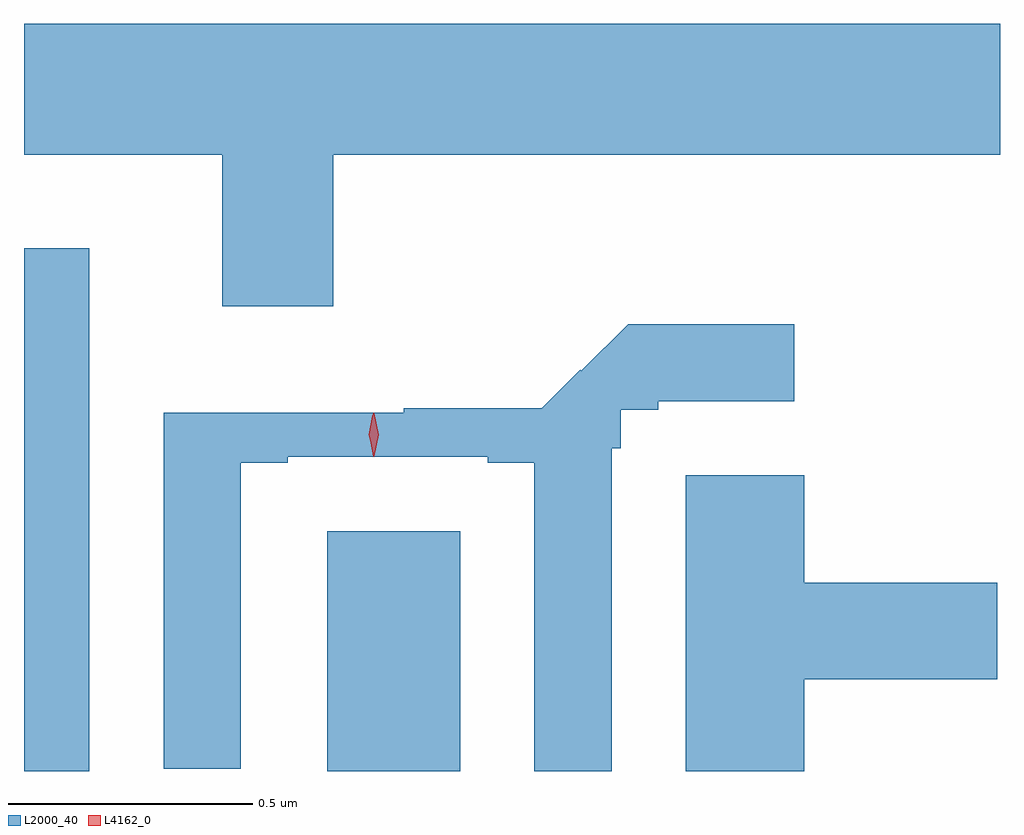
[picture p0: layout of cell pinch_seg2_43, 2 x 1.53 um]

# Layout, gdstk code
import gdstk
lib = gdstk.Library(unit=1e-6, precision=1e-09)
def R(c, l, rs):  # rectangles x0, y0, x1, y1
    for r in rs: c.add(gdstk.rectangle(r[:2], r[2:], *l))
def P(c, l, *ps):  # polygons
    for p in ps: c.add(gdstk.Polygon(p, *l))
L2000_40 = (2000, 40)
L4162_0 = (4162, 0)

pinch_seg2_43 = lib.new_cell('pinch_seg2_43')
R(pinch_seg2_43, L2000_40, [(1118.18,1095.893,1118.314,1096.964), (1118.801,1095.893,1119.074,1096.384)])
P(pinch_seg2_43, L2000_40, [(1118.814,1097.156),(1120.18,1097.156),(1120.18,1097.424),(1118.18,1097.424),(1118.18,1097.156),(1118.586,1097.156),(1118.586,1096.846),(1118.814,1096.846)],
  [(1119.384,1096.555),(1119.403,1096.555),(1119.403,1096.633),(1119.48,1096.633),(1119.48,1096.651),(1119.758,1096.651),(1119.758,1096.809),(1119.418,1096.809),(1119.322,1096.713),(1119.32,1096.715),(1119.241,1096.636),(1118.958,1096.636),(1118.958,1096.627),(1118.466,1096.627),(1118.466,1095.898),(1118.624,1095.898),(1118.624,1096.525),(1118.72,1096.525),(1118.72,1096.537),(1119.13,1096.537),(1119.13,1096.525),(1119.226,1096.525),(1119.226,1095.893),(1119.384,1095.893)],
  [(1119.779,1096.081),(1120.174,1096.081),(1120.174,1096.279),(1119.779,1096.279),(1119.779,1096.499),(1119.536,1096.499),(1119.536,1095.893),(1119.779,1095.893)])
P(pinch_seg2_43, L4162_0, [(1118.897,1096.537),(1118.896,1096.538),(1118.887,1096.582),(1118.896,1096.626),(1118.897,1096.627),(1118.898,1096.626),(1118.907,1096.582),(1118.898,1096.538)],
  [(1118.896,1096.544),(1118.896,1096.545),(1118.886,1096.582),(1118.894,1096.62),(1118.894,1096.621),(1118.895,1096.62),(1118.906,1096.583),(1118.897,1096.545)])

lib.write_gds('pinch_seg2_43.gds')
